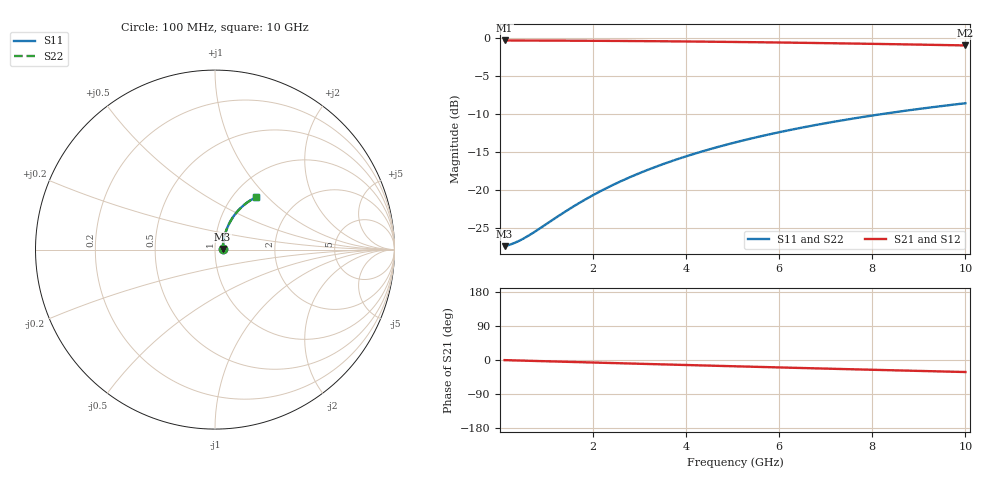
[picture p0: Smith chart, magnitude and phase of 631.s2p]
# Hz S RI R 50.00
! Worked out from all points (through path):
!   100 points, 100 MHz to 10 GHz, reference 50 ohm
!   highest |S21| = -0.38 dB at 100 MHz (marker M1); lowest = -1.0 dB at 10 GHz (marker M2)
!   group delay of S21, straight-line fit = 8.84 ps
!   lowest |S11| = -27.4 dB at 100 MHz (marker M3), VSWR 1.09, Z = 54.4 + j0.418 ohm
!   |S11| at or under -10 dB: start of sweep to 8.259 GHz
!   |S22| runs from -27.4 to -8.6 dB; largest |S21 - S12| = 0
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1e8  0.0425 0.00383  0.9575 -0.00557  0.9575 -0.00557  0.0425 0.00383
2e8  0.0429 0.00766  0.9571 -0.0111  0.9571 -0.0111  0.0429 0.00766
3e8  0.0432 0.0115  0.9568 -0.0167  0.9568 -0.0167  0.0432 0.0115
4e8  0.0435 0.0153  0.9565 -0.0222  0.9565 -0.0222  0.0435 0.0153
6e8  0.0442 0.0229  0.9558 -0.0333  0.9558 -0.0333  0.0442 0.0229
8e8  0.045 0.0305  0.9549 -0.0444  0.9549 -0.0444  0.045 0.0305
1.4e9  0.0484 0.0532  0.9513 -0.0775  0.9513 -0.0775  0.0484 0.0532
1.8e9  0.0514 0.0681  0.948 -0.0993  0.948 -0.0993  0.0514 0.0681
2.2e9  0.0551 0.0828  0.9441 -0.121  0.9441 -0.121  0.0551 0.0828
2.6e9  0.0595 0.0973  0.9394 -0.1425  0.9394 -0.1425  0.0595 0.0973
3e9  0.0645 0.1115  0.9341 -0.1637  0.9341 -0.1637  0.0645 0.1115
3.4e9  0.07 0.1255  0.9281 -0.1846  0.9281 -0.1846  0.07 0.1255
3.8e9  0.0762 0.1391  0.9215 -0.2051  0.9215 -0.2051  0.0762 0.1391
4.2e9  0.083 0.1523  0.9142 -0.2254  0.9142 -0.2254  0.083 0.1523
4.6e9  0.0903 0.1652  0.9063 -0.2452  0.9063 -0.2452  0.0903 0.1652
5.1e9  0.1002 0.1807  0.8957 -0.2695  0.8957 -0.2695  0.1002 0.1807
5.9e9  0.1176 0.2041  0.8769 -0.3069  0.8769 -0.3069  0.1176 0.2041
6.7e9  0.1367 0.2255  0.8562 -0.3423  0.8562 -0.3423  0.1367 0.2255
7.5e9  0.1574 0.2449  0.8338 -0.3758  0.8338 -0.3758  0.1574 0.2449
8.4e9  0.182 0.2642  0.8068 -0.411  0.8068 -0.411  0.182 0.2642
9.2e9  0.205 0.279  0.7816 -0.4401  0.7816 -0.4401  0.205 0.279
1e10  0.2286 0.2917  0.7555 -0.467  0.7555 -0.467  0.2286 0.2917
